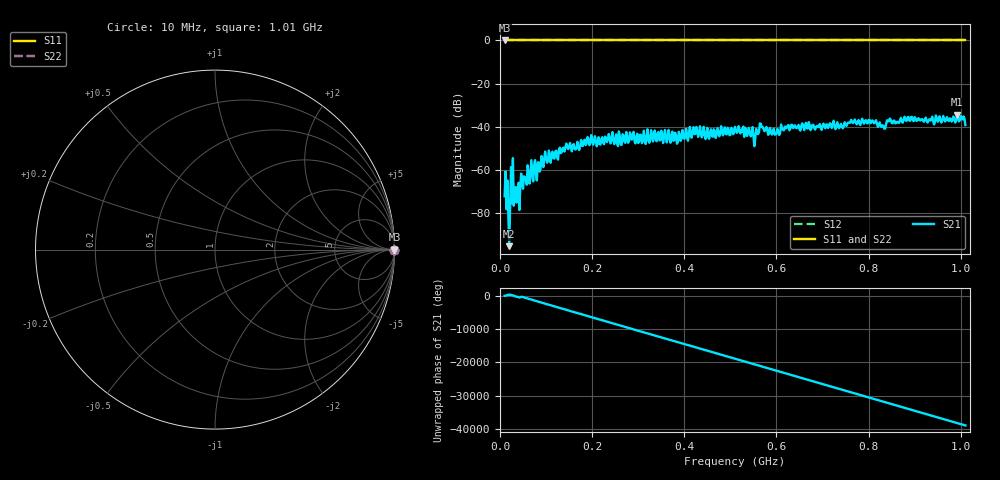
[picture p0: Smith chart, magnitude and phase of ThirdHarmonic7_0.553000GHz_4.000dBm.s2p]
! 8/17/2025 4:49:34 PM
! C:\ANRITSUVNA\TEMP\TEMP.S2P
! CHANNEL.1
! TR.MEASUREMENT
! RAW.DATA
! RF.CORRECTION.OFF
! AVERAGING.OFF
! IF.BANDWIDTH: 5KHZ
! SWEEPTYPE:  FREQ.SWEEP(Linear)
! Reference Plane Port Info
! PORT:  PORT1  PORT2
! DISTANCE:  0  m  0  m
! TIME:  0  s  0  s
! PHASE.OFFSET:  0  deg.  0  deg.
! LOSS:  0  dB  0  dB
! REF.LOSS:  0  dB  0  dB
! REF.FREQ:  0  Hz  0  Hz
! Power Info
! POWER:  -20  dBm  -20  dBm
! EFF.POWER:  -20  dBm  -20  dBm
! SOURCE.ATTEN:  0  dB  0  dB
! TEST.ATTEN:  0  dB  0  dB
# GHZ S RI R 50.0
! FREQ.GHZ  S11RE  S11IM  S21RE  S21IM  S12RE  S12IM  S22RE  S22IM
!; PortSelection: Port_12
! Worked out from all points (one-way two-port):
!   501 points, 10 MHz to 1.01 GHz, reference 50 ohm
!   highest |S21| = -34.52 dB at 992 MHz (marker M1); lowest = -95.5 dB at 20 MHz (marker M2)
!   lowest |S11| = 0.0 dB at 10 MHz (marker M3)
!   |S11| at or under -10 dB: nowhere
!   |S22| runs from 0.0 to 0.0 dB; largest |S21 - S12| = 1
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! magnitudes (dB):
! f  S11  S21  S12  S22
! 10 MHz  0.0  -72.4  0.0  0.0
! 18 MHz  0.0  -80.8  0.0  0.0
! 20 MHz  0.0  -95.5  0.0  0.0
! 22 MHz  0.0  -76.3  0.0  0.0
! 24 MHz  0.0  -58.8  0.0  0.0
! 28 MHz  0.0  -54.6  0.0  0.0
! 34 MHz  0.0  -68.1  0.0  0.0
! 40 MHz  0.0  -66.1  0.0  0.0
! 50 MHz  0.0  -68.8  0.0  0.0
! 94 MHz  0.0  -58.8  0.0  0.0
! 178 MHz  0.0  -48.9  0.0  0.0
! 344 MHz  0.0  -42.5  0.0  0.0
! 510 MHz  0.0  -40.1  0.0  0.0
! 554 MHz  0.0  -45.3  0.0  0.0
! 568 MHz  0.0  -40.2  0.0  0.0
! 594 MHz  0.0  -41.0  0.0  0.0
! 678 MHz  0.0  -39.2  0.0  0.0
! 790 MHz  0.0  -38.6  0.0  0.0
! 832 MHz  0.0  -39.6  0.0  0.0
! 844 MHz  0.0  -37.5  0.0  0.0
! 992 MHz  0.0  -34.5  0.0  0.0
! 1.01 GHz  0.0  -39.3  0.0  0.0
